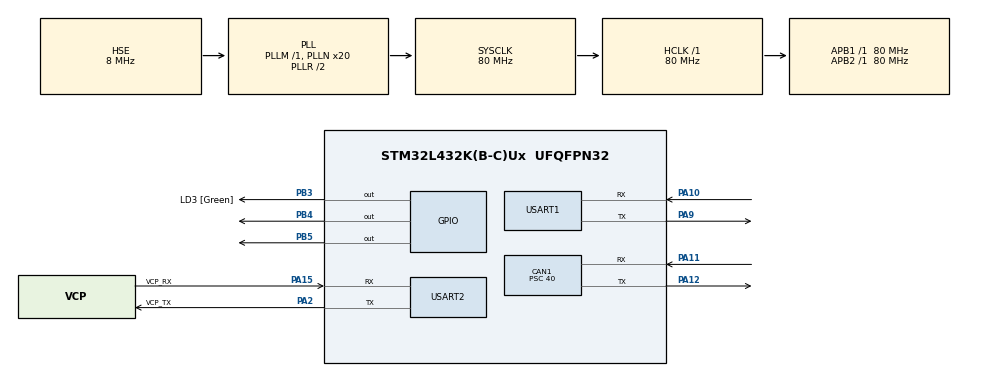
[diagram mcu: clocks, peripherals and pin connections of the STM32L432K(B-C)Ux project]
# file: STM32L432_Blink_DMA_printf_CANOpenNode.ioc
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CAN1.ABOM=ENABLE
CAN1.AWUM=DISABLE
CAN1.BS1=CAN_BS1_13TQ
CAN1.BS2=CAN_BS2_2TQ
CAN1.CalculateBaudRate=125000
CAN1.CalculateTimeBit=8000
CAN1.CalculateTimeQuantum=500.0
CAN1.NART=ENABLE
CAN1.Prescaler=40
CAN1.TXFP=DISABLE
Dma.Request0=USART2_RX
Dma.Request1=USART2_TX
Dma.Request2=USART1_RX
Dma.Request3=USART1_TX
Dma.USART1_RX.2.Direction=DMA_PERIPH_TO_MEMORY
Dma.USART1_RX.2.Instance=DMA1_Channel5
Dma.USART1_RX.2.MemDataAlignment=DMA_MDATAALIGN_BYTE
Dma.USART1_RX.2.MemInc=DMA_MINC_ENABLE
Dma.USART1_RX.2.Mode=DMA_NORMAL
Dma.USART1_RX.2.PeriphDataAlignment=DMA_PDATAALIGN_BYTE
Dma.USART1_RX.2.PeriphInc=DMA_PINC_DISABLE
Dma.USART1_RX.2.Priority=DMA_PRIORITY_LOW
Dma.USART1_TX.3.Direction=DMA_MEMORY_TO_PERIPH
Dma.USART1_TX.3.Instance=DMA1_Channel4
Dma.USART1_TX.3.MemDataAlignment=DMA_MDATAALIGN_BYTE
Dma.USART1_TX.3.MemInc=DMA_MINC_ENABLE
Dma.USART1_TX.3.Mode=DMA_NORMAL
Dma.USART1_TX.3.PeriphDataAlignment=DMA_PDATAALIGN_BYTE
Dma.USART1_TX.3.PeriphInc=DMA_PINC_DISABLE
Dma.USART1_TX.3.Priority=DMA_PRIORITY_LOW
Dma.USART2_RX.0.Direction=DMA_PERIPH_TO_MEMORY
Dma.USART2_RX.0.Instance=DMA1_Channel6
Dma.USART2_RX.0.MemDataAlignment=DMA_MDATAALIGN_BYTE
Dma.USART2_RX.0.MemInc=DMA_MINC_ENABLE
Dma.USART2_RX.0.Mode=DMA_NORMAL
Dma.USART2_RX.0.PeriphDataAlignment=DMA_PDATAALIGN_BYTE
Dma.USART2_RX.0.PeriphInc=DMA_PINC_DISABLE
Dma.USART2_RX.0.Priority=DMA_PRIORITY_LOW
Dma.USART2_TX.1.Direction=DMA_MEMORY_TO_PERIPH
Dma.USART2_TX.1.Instance=DMA1_Channel7
Dma.USART2_TX.1.MemDataAlignment=DMA_MDATAALIGN_BYTE
Dma.USART2_TX.1.MemInc=DMA_MINC_ENABLE
Dma.USART2_TX.1.Mode=DMA_NORMAL
Dma.USART2_TX.1.PeriphDataAlignment=DMA_PDATAALIGN_BYTE
Dma.USART2_TX.1.PeriphInc=DMA_PINC_DISABLE
Dma.USART2_TX.1.Priority=DMA_PRIORITY_LOW
Mcu.Family=STM32L4
Mcu.Name=STM32L432K(B-C)Ux
Mcu.Package=UFQFPN32
NVIC.CAN1_RX0_IRQn=true\:0\:0\:false\:false\:true\:true\:true\:true
NVIC.CAN1_RX1_IRQn=true\:0\:0\:false\:false\:true\:true\:true\:true
NVIC.CAN1_SCE_IRQn=true\:0\:0\:false\:false\:true\:true\:true\:true
NVIC.CAN1_TX_IRQn=true\:0\:0\:false\:false\:true\:true\:true\:true
NVIC.DMA1_Channel4_IRQn=true\:0\:0\:false\:false\:true\:false\:true\:true
NVIC.DMA1_Channel5_IRQn=true\:0\:0\:false\:false\:true\:false\:true\:true
NVIC.DMA1_Channel6_IRQn=true\:0\:0\:false\:false\:true\:false\:true\:true
NVIC.DMA1_Channel7_IRQn=true\:0\:0\:false\:false\:true\:false\:true\:true
NVIC.PriorityGroup=NVIC_PRIORITYGROUP_4
NVIC.TIM7_IRQn=true\:0\:0\:false\:false\:true\:true\:true\:true
NVIC.USART1_IRQn=true\:0\:0\:false\:false\:true\:true\:true\:true
NVIC.USART2_IRQn=true\:0\:0\:false\:false\:true\:true\:true\:true
PA0.GPIO_Label=MCO [High speed clock in]
PA0.Mode=HSE-External-Clock-Source-for-LittleOrca
PA0.Signal=RCC_CK_IN
PA10.Mode=Asynchronous
PA10.Signal=USART1_RX
PA11.Mode=CAN_Activate
PA11.Signal=CAN1_RX
PA12.Mode=CAN_Activate
PA12.Signal=CAN1_TX
PA13\ (JTMS-SWDIO).GPIO_Label=SWDIO
PA13\ (JTMS-SWDIO).Mode=Serial_Wire
PA13\ (JTMS-SWDIO).Signal=SYS_JTMS-SWDIO
PA14\ (JTCK-SWCLK).GPIO_Label=SWCLK
PA14\ (JTCK-SWCLK).Mode=Serial_Wire
PA14\ (JTCK-SWCLK).Signal=SYS_JTCK-SWCLK
PA15\ (JTDI).GPIO_Label=VCP_RX
PA15\ (JTDI).Mode=Asynchronous
PA15\ (JTDI).Signal=USART2_RX
PA2.GPIO_Label=VCP_TX
PA2.Mode=Asynchronous
PA2.Signal=USART2_TX
PA9.Mode=Asynchronous
PA9.Signal=USART1_TX
PB3\ (JTDO-TRACESWO).GPIO_Label=LD3 [Green]
PB3\ (JTDO-TRACESWO).Signal=GPIO_Output
PB4\ (NJTRST).Signal=GPIO_Output
PB5.Signal=GPIO_Output
PC14-OSC32_IN\ (PC14).Mode=LSE-External-Oscillator
PC14-OSC32_IN\ (PC14).Signal=RCC_OSC32_IN
PC15-OSC32_OUT\ (PC15).Mode=LSE-External-Oscillator
PC15-OSC32_OUT\ (PC15).Signal=RCC_OSC32_OUT
ProjectManager.HeapSize=0x200
ProjectManager.StackSize=0x400
ProjectManager.TargetToolchain=STM32CubeIDE
RCC.ADCFreq_Value=32000000
RCC.AHBFreq_Value=80000000
RCC.APB1Freq_Value=80000000
RCC.APB1TimFreq_Value=80000000
RCC.APB2Freq_Value=80000000
RCC.APB2TimFreq_Value=80000000
RCC.CodegenConfigPeriph=true
RCC.CortexFreq_Value=80000000
RCC.HCLKFreq_Value=80000000
RCC.HSE_VALUE=8000000
RCC.HSI16_VALUE=16000000
RCC.HSI48_VALUE=48000000
RCC.HSI_VALUE=16000000
RCC.MSI_VALUE=4000000
RCC.PLLMUL=RCC_PLLMUL_4
RCC.PLLN=20
RCC.PLLSourceVirtual=RCC_PLLSOURCE_HSE
RCC.RCC_TIM_PRescaler_Selection=RCC_TIMPRES_DESACTIVATED
RCC.RTCClockSelection=RCC_RTCCLKSOURCE_LSE
RCC.SYSCLKFreq_VALUE=80000000
RCC.SYSCLKSource=RCC_SYSCLKSOURCE_PLLCLK
RCC.USBFreq_Value=32000000
RCC.VCOOutputFreq_Value=160000000
TIM7.AutoReloadPreload=TIM_AUTORELOAD_PRELOAD_ENABLE
TIM7.Period=1000-1
TIM7.Prescaler=80-1
USART1.VirtualMode-Asynchronous=VM_ASYNC
USART2.VirtualMode-Asynchronous=VM_ASYNC
VP_IWDG_VS_IWDG.Mode=IWDG_Activate
VP_RTC_VS_RTC_Activate.Mode=RTC_Enabled
VP_TIM7_VS_ClockSourceINT.Mode=Enable_Timer
board=NUCLEO-L432KC

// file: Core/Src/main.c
/* USER CODE BEGIN Header */
/**
  ******************************************************************************
  * @file           : main.c
  * @brief          : Main program body
  ******************************************************************************
  * @attention
  *
  * Copyright (c) 2023 STMicroelectronics.
  * All rights reserved.
  *
  * This software is licensed under terms that can be found in the LICENSE file
  * in the root directory of this software component.
  * If no LICENSE file comes with this software, it is provided AS-IS.
  *
  ******************************************************************************
  */
/* USER CODE END Header */
#include "main.h"

/* USER CODE BEGIN Includes */
#include <stdio.h>
#include "dma_printf.h"
#include "dma_scanf.h"
#include "log.h"

#include "CO_app_STM32.h"
/* USER CODE END Includes */

CAN_HandleTypeDef hcan1;

IWDG_HandleTypeDef hiwdg;

RTC_HandleTypeDef hrtc;

TIM_HandleTypeDef htim7;

UART_HandleTypeDef huart1;
UART_HandleTypeDef huart2;
DMA_HandleTypeDef hdma_usart1_rx;
DMA_HandleTypeDef hdma_usart1_tx;
DMA_HandleTypeDef hdma_usart2_rx;
DMA_HandleTypeDef hdma_usart2_tx;

/* USER CODE BEGIN PV */
uint8_t flag = 0;
/* USER CODE END PV */

void SystemClock_Config(void);
static void MX_GPIO_Init(void);
static void MX_DMA_Init(void);
static void MX_USART2_UART_Init(void);
static void MX_CAN1_Init(void);
static void MX_IWDG_Init(void);
static void MX_RTC_Init(void);
static void MX_USART1_UART_Init(void);
static void MX_TIM7_Init(void);

/* USER CODE BEGIN 0 */
void HAL_TIM_PeriodElapsedCallback(TIM_HandleTypeDef *htim)
{
	static uint32_t c;
////	if(htim->Instance == htim7.Instance) {
	if (htim == canopenNodeSTM32->timerHandle) {
		HAL_IWDG_Refresh(&hiwdg);
		canopen_app_interrupt();
		c++;
		if (c >= 50) {
////			flag = 1;
			c = 0;
			HAL_GPIO_TogglePin(LD3_GPIO_Port, LD3_Pin);
		}
	}
}

int __io_putchar(int ch)
{
  dma_printf_putc(ch&0xFF);
  return ch;
}

int __io_getchar(void)
{
  return dma_scanf_getc_blocking();
}

void HAL_UART_RxCpltCallback(UART_HandleTypeDef *huart){

}

void HAL_UART_TxCpltCallback(UART_HandleTypeDef *huart){
  dma_printf_send_it(huart);
}
/* USER CODE END 0 */

int main(void)
{

  /* MCU Configuration--------------------------------------------------------*/

  /* Reset of all peripherals, Initializes the Flash interface and the Systick. */
  HAL_Init();

  /* Configure the system clock */
  SystemClock_Config();

  /* Initialize all configured peripherals */
  MX_GPIO_Init();
  MX_DMA_Init();
  MX_USART2_UART_Init();
  MX_CAN1_Init();
  MX_IWDG_Init();
  MX_RTC_Init();
  MX_USART1_UART_Init();
  MX_TIM7_Init();
  /* USER CODE BEGIN 2 */
  HAL_TIM_Base_Start_IT(&htim7);

  setbuf(stdin, NULL);
  setbuf(stdout, NULL);
  setbuf(stderr, NULL);
  dma_printf_init(&huart2);
  dma_scanf_init(&huart2);

  CANopenNodeSTM32 canOpenNodeSTM32;
  canOpenNodeSTM32.CANHandle = &hcan1;
  canOpenNodeSTM32.HWInitFunction = MX_CAN1_Init;
  canOpenNodeSTM32.timerHandle = &htim7;
  canOpenNodeSTM32.desiredNodeID = 29;
  canOpenNodeSTM32.baudrate = 125;
  canopen_app_init(&canOpenNodeSTM32);
  /* USER CODE END 2 */

  /* Infinite loop */
  /* USER CODE BEGIN WHILE */
  int cnt = 0;
  while (1)
  {
    if (flag == 1)
	{
      flag = 0;
	  HAL_GPIO_WritePin(GPIOB, GPIO_PIN_4, GPIO_PIN_SET);
	  log_info("RESULT:%d\r", cnt++);
	  printf("RESULT:\t%d\r\n", cnt);
	  HAL_GPIO_WritePin(GPIOB, GPIO_PIN_4, GPIO_PIN_RESET);
    }

    canopen_app_process();

    /* USER CODE END WHILE */

  }
}

void SystemClock_Config(void)
{
  RCC_OscInitTypeDef RCC_OscInitStruct = {0};
  RCC_ClkInitTypeDef RCC_ClkInitStruct = {0};

  /** Configure the main internal regulator output voltage
  */
  if (HAL_PWREx_ControlVoltageScaling(PWR_REGULATOR_VOLTAGE_SCALE1) != HAL_OK)
  {
    Error_Handler();
  }

  /** Configure LSE Drive Capability
  */
  HAL_PWR_EnableBkUpAccess();
  __HAL_RCC_LSEDRIVE_CONFIG(RCC_LSEDRIVE_LOW);

  /** Initializes the RCC Oscillators according to the specified parameters
  * in the RCC_OscInitTypeDef structure.
  */
  RCC_OscInitStruct.OscillatorType = RCC_OSCILLATORTYPE_LSI|RCC_OSCILLATORTYPE_HSE
                              |RCC_OSCILLATORTYPE_LSE;
  RCC_OscInitStruct.HSEState = RCC_HSE_BYPASS;
  RCC_OscInitStruct.LSEState = RCC_LSE_ON;
  RCC_OscInitStruct.LSIState = RCC_LSI_ON;
  RCC_OscInitStruct.PLL.PLLState = RCC_PLL_ON;
  RCC_OscInitStruct.PLL.PLLSource = RCC_PLLSOURCE_HSE;
  RCC_OscInitStruct.PLL.PLLM = 1;
  RCC_OscInitStruct.PLL.PLLN = 20;
  RCC_OscInitStruct.PLL.PLLP = RCC_PLLP_DIV7;
  RCC_OscInitStruct.PLL.PLLQ = RCC_PLLQ_DIV2;
  RCC_OscInitStruct.PLL.PLLR = RCC_PLLR_DIV2;
  if (HAL_RCC_OscConfig(&RCC_OscInitStruct) != HAL_OK)
  {
    Error_Handler();
  }

  /** Initializes the CPU, AHB and APB buses clocks
  */
  RCC_ClkInitStruct.ClockType = RCC_CLOCKTYPE_HCLK|RCC_CLOCKTYPE_SYSCLK
                              |RCC_CLOCKTYPE_PCLK1|RCC_CLOCKTYPE_PCLK2;
  RCC_ClkInitStruct.SYSCLKSource = RCC_SYSCLKSOURCE_PLLCLK;
  RCC_ClkInitStruct.AHBCLKDivider = RCC_SYSCLK_DIV1;
  RCC_ClkInitStruct.APB1CLKDivider = RCC_HCLK_DIV1;
  RCC_ClkInitStruct.APB2CLKDivider = RCC_HCLK_DIV1;

  if (HAL_RCC_ClockConfig(&RCC_ClkInitStruct, FLASH_LATENCY_4) != HAL_OK)
  {
    Error_Handler();
  }
}

static void MX_CAN1_Init(void)
{

  hcan1.Instance = CAN1;
  hcan1.Init.Prescaler = 40;
  hcan1.Init.Mode = CAN_MODE_NORMAL;
  hcan1.Init.SyncJumpWidth = CAN_SJW_1TQ;
  hcan1.Init.TimeSeg1 = CAN_BS1_13TQ;
  hcan1.Init.TimeSeg2 = CAN_BS2_2TQ;
  hcan1.Init.TimeTriggeredMode = DISABLE;
  hcan1.Init.AutoBusOff = ENABLE;
  hcan1.Init.AutoWakeUp = DISABLE;
  hcan1.Init.AutoRetransmission = ENABLE;
  hcan1.Init.ReceiveFifoLocked = DISABLE;
  hcan1.Init.TransmitFifoPriority = DISABLE;
  if (HAL_CAN_Init(&hcan1) != HAL_OK)
  {
    Error_Handler();
  }

}

static void MX_IWDG_Init(void)
{

  hiwdg.Instance = IWDG;
  hiwdg.Init.Prescaler = IWDG_PRESCALER_4;
  hiwdg.Init.Window = 4095;
  hiwdg.Init.Reload = 4095;
  if (HAL_IWDG_Init(&hiwdg) != HAL_OK)
  {
    Error_Handler();
  }

}

static void MX_RTC_Init(void)
{

  /** Initialize RTC Only
  */
  hrtc.Instance = RTC;
  hrtc.Init.HourFormat = RTC_HOURFORMAT_24;
  hrtc.Init.AsynchPrediv = 127;
  hrtc.Init.SynchPrediv = 255;
  hrtc.Init.OutPut = RTC_OUTPUT_DISABLE;
  hrtc.Init.OutPutRemap = RTC_OUTPUT_REMAP_NONE;
  hrtc.Init.OutPutPolarity = RTC_OUTPUT_POLARITY_HIGH;
  hrtc.Init.OutPutType = RTC_OUTPUT_TYPE_OPENDRAIN;
  if (HAL_RTC_Init(&hrtc) != HAL_OK)
  {
    Error_Handler();
  }

}

static void MX_TIM7_Init(void)
{

  TIM_MasterConfigTypeDef sMasterConfig = {0};

  htim7.Instance = TIM7;
  htim7.Init.Prescaler = 80-1;
  htim7.Init.CounterMode = TIM_COUNTERMODE_UP;
  htim7.Init.Period = 1000-1;
  htim7.Init.AutoReloadPreload = TIM_AUTORELOAD_PRELOAD_ENABLE;
  if (HAL_TIM_Base_Init(&htim7) != HAL_OK)
  {
    Error_Handler();
  }
  sMasterConfig.MasterOutputTrigger = TIM_TRGO_RESET;
  sMasterConfig.MasterSlaveMode = TIM_MASTERSLAVEMODE_DISABLE;
  if (HAL_TIMEx_MasterConfigSynchronization(&htim7, &sMasterConfig) != HAL_OK)
  {
    Error_Handler();
  }

}

static void MX_USART1_UART_Init(void)
{

  huart1.Instance = USART1;
  huart1.Init.BaudRate = 115200;
  huart1.Init.WordLength = UART_WORDLENGTH_8B;
  huart1.Init.StopBits = UART_STOPBITS_1;
  huart1.Init.Parity = UART_PARITY_NONE;
  huart1.Init.Mode = UART_MODE_TX_RX;
  huart1.Init.HwFlowCtl = UART_HWCONTROL_NONE;
  huart1.Init.OverSampling = UART_OVERSAMPLING_16;
  huart1.Init.OneBitSampling = UART_ONE_BIT_SAMPLE_DISABLE;
  huart1.AdvancedInit.AdvFeatureInit = UART_ADVFEATURE_NO_INIT;
  if (HAL_UART_Init(&huart1) != HAL_OK)
  {
    Error_Handler();
  }

}

static void MX_USART2_UART_Init(void)
{

  huart2.Instance = USART2;
  huart2.Init.BaudRate = 115200;
  huart2.Init.WordLength = UART_WORDLENGTH_8B;
  huart2.Init.StopBits = UART_STOPBITS_1;
  huart2.Init.Parity = UART_PARITY_NONE;
  huart2.Init.Mode = UART_MODE_TX_RX;
  huart2.Init.HwFlowCtl = UART_HWCONTROL_NONE;
  huart2.Init.OverSampling = UART_OVERSAMPLING_16;
  huart2.Init.OneBitSampling = UART_ONE_BIT_SAMPLE_DISABLE;
  huart2.AdvancedInit.AdvFeatureInit = UART_ADVFEATURE_NO_INIT;
  if (HAL_UART_Init(&huart2) != HAL_OK)
  {
    Error_Handler();
  }

}

static void MX_DMA_Init(void)
{

  /* DMA controller clock enable */
  __HAL_RCC_DMA1_CLK_ENABLE();

  /* DMA interrupt init */
  /* DMA1_Channel4_IRQn interrupt configuration */
  HAL_NVIC_SetPriority(DMA1_Channel4_IRQn, 0, 0);
  HAL_NVIC_EnableIRQ(DMA1_Channel4_IRQn);
  /* DMA1_Channel5_IRQn interrupt configuration */
  HAL_NVIC_SetPriority(DMA1_Channel5_IRQn, 0, 0);
  HAL_NVIC_EnableIRQ(DMA1_Channel5_IRQn);
  /* DMA1_Channel6_IRQn interrupt configuration */
  HAL_NVIC_SetPriority(DMA1_Channel6_IRQn, 0, 0);
  HAL_NVIC_EnableIRQ(DMA1_Channel6_IRQn);
  /* DMA1_Channel7_IRQn interrupt configuration */
  HAL_NVIC_SetPriority(DMA1_Channel7_IRQn, 0, 0);
  HAL_NVIC_EnableIRQ(DMA1_Channel7_IRQn);

}

static void MX_GPIO_Init(void)
{
  GPIO_InitTypeDef GPIO_InitStruct = {0};

  /* GPIO Ports Clock Enable */
  __HAL_RCC_GPIOC_CLK_ENABLE();
  __HAL_RCC_GPIOA_CLK_ENABLE();
  __HAL_RCC_GPIOB_CLK_ENABLE();

  /*Configure GPIO pin Output Level */
  HAL_GPIO_WritePin(GPIOB, LD3_Pin|GPIO_PIN_4|GPIO_PIN_5, GPIO_PIN_RESET);

  /*Configure GPIO pins : LD3_Pin PB4 PB5 */
  GPIO_InitStruct.Pin = LD3_Pin|GPIO_PIN_4|GPIO_PIN_5;
  GPIO_InitStruct.Mode = GPIO_MODE_OUTPUT_PP;
  GPIO_InitStruct.Pull = GPIO_NOPULL;
  GPIO_InitStruct.Speed = GPIO_SPEED_FREQ_LOW;
  HAL_GPIO_Init(GPIOB, &GPIO_InitStruct);

}

void Error_Handler(void)
{
  __disable_irq();
  while (1)
  {
  }
}
